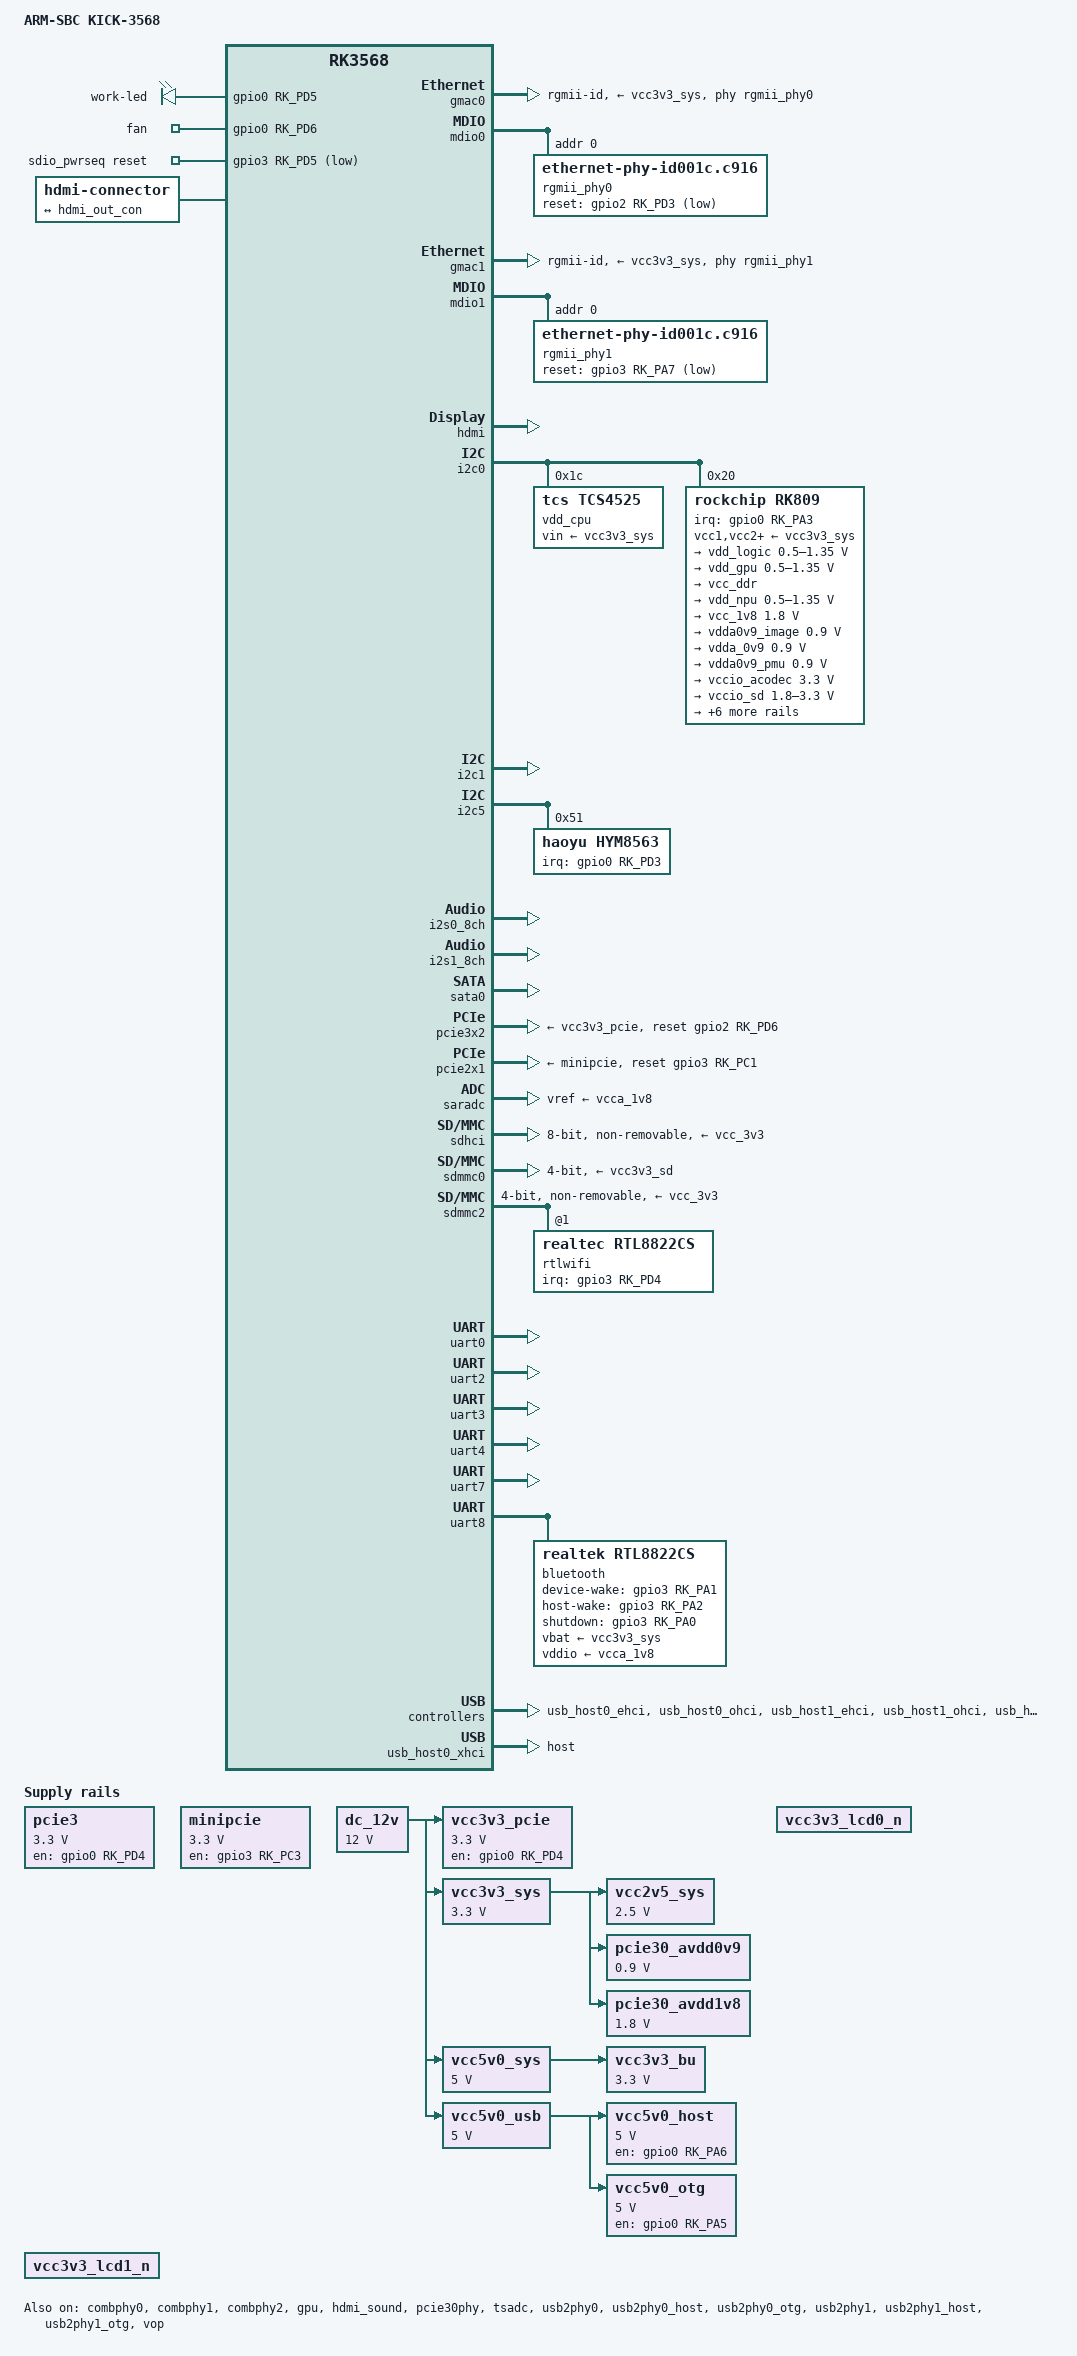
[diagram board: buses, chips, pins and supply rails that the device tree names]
// SPDX-License-Identifier: (GPL-2.0+ OR MIT)
/*
 * Copyright (c) 2021 Rockchip Electronics Co., Ltd.
 */

/dts-v1/;

#include <dt-bindings/gpio/gpio.h>
#include <dt-bindings/pinctrl/rockchip.h>
#include <dt-bindings/soc/rockchip,vop2.h>
#include "rk3568.dtsi"

/ {
	model = "ARM-SBC KICK-3568";
	compatible = "arm-sbc,rk3568-kick", "rockchip,rk3568";

	aliases {
			ethernet0 = &gmac0;
			ethernet1 = &gmac1;
			mmc0 = &sdhci;
			mmc1 = &sdmmc0;
	};

	chosen: chosen {
			stdout-path = "serial2:1500000n8";
	};
	

    rk809-sound {
			compatible = "simple-audio-card";
			simple-audio-card,format = "i2s";
			simple-audio-card,name = "ROCKCHIP-809-SOUND";
			simple-audio-card,mclk-fs = <256>;
			status = "okay";
			
			simple-audio-card,widgets =
				"Headphone", "Headphones",
				"Speaker", "Speaker";
			simple-audio-card,routing =
				"Headphones", "HPOL",
				"Headphones", "HPOR",
				"Speaker", "SPKO";
		     
			simple-audio-card,cpu {
				sound-dai = <&i2s1_8ch>;
			};

			simple-audio-card,codec {
				sound-dai = <&rk809>;
			};
		};

	leds {
			compatible = "gpio-leds";

			led-user {
				label = "work-led";
				default-state = "on";
				gpios = <&gpio0 RK_PD5 GPIO_ACTIVE_HIGH>;
				linux,default-trigger = "heartbeat";
				pinctrl-names = "default";
				pinctrl-0 = <&user_led_enable_h>;
				retain-state-suspended;
				};
				
			fan {
		    	gpios = <&gpio0 RK_PD6 GPIO_ACTIVE_HIGH>;
		    	default-state = "on";
			};
		};
		
		
	
	sdio_pwrseq: sdio-pwrseq {
		compatible = "mmc-pwrseq-simple";
		clocks = <&rk809 1>;
		clock-names = "ext_clock";
		pinctrl-names = "default";
		pinctrl-0 = <&wifi_enable>;
		post-power-on-delay-ms = <100>;
		power-off-delay-us = <5000000>;
		reset-gpios = <&gpio3 RK_PD5 GPIO_ACTIVE_LOW>;
	};
	
	vcc2v5_sys: vcc2v5-ddr {
		compatible = "regulator-fixed";
		regulator-name = "vcc2v5-sys";
		regulator-always-on;
		regulator-boot-on;
		regulator-min-microvolt = <2500000>;
		regulator-max-microvolt = <2500000>;
		vin-supply = <&vcc3v3_sys>;
	};

	vcc3v3_bu: vcc3v3-bu {
		compatible = "regulator-fixed";
		regulator-name = "vcc3v3_bu";
		regulator-always-on;
		regulator-boot-on;
		regulator-min-microvolt = <3300000>;
		regulator-max-microvolt = <3300000>;
		vin-supply = <&vcc5v0_sys>;
	};
	
	pcie30_avdd0v9: pcie30-avdd0v9 {
		compatible = "regulator-fixed";
		regulator-name = "pcie30_avdd0v9";
		regulator-always-on;
		regulator-boot-on;
		regulator-min-microvolt = <900000>;
		regulator-max-microvolt = <900000>;
		vin-supply = <&vcc3v3_sys>;
	};

	pcie30_avdd1v8: pcie30-avdd1v8 {
		compatible = "regulator-fixed";
		regulator-name = "pcie30_avdd1v8";
		regulator-always-on;
		regulator-boot-on;
		regulator-min-microvolt = <1800000>;
		regulator-max-microvolt = <1800000>;
		vin-supply = <&vcc3v3_sys>;
	};

	vcc3v3_pcie: gpio-regulator {
		compatible = "regulator-fixed";
		regulator-name = "vcc3v3_pcie";
		regulator-min-microvolt = <3300000>;
		regulator-max-microvolt = <3300000>;
		enable-active-high;
		gpio = <&gpio0 RK_PD4 GPIO_ACTIVE_HIGH>;
		startup-delay-us = <5000>;
		vin-supply = <&dc_12v>;
	};

	pcie3: pcie3-regulator {
		compatible = "regulator-fixed";
		regulator-name = "pcie3_power";
		regulator-boot-on;
		regulator-always-on;
		regulator-min-microvolt = <3300000>;
		regulator-max-microvolt = <3300000>;
		enable-active-high;
		gpio = <&gpio0 RK_PD4 GPIO_ACTIVE_HIGH>;
		pinctrl-names = "default";
		pinctrl-0 = <&pcie3_power_en>;
	};

	minipcie: minipcie-regulator {
		compatible = "regulator-fixed";
		regulator-name = "minipcie_power";
		regulator-boot-on;
		regulator-always-on;
		regulator-min-microvolt = <3300000>;
		regulator-max-microvolt = <3300000>;
		enable-active-high;
		gpio = <&gpio3 RK_PC3 GPIO_ACTIVE_HIGH>;
		pinctrl-names = "default";
		pinctrl-0 = <&minipcie_power_en>;
	};

	hdmi-con {
		compatible = "hdmi-connector";
		type = "a";

		port {
			hdmi_con_in: endpoint {
				remote-endpoint = <&hdmi_out_con>;
			};
		};
	};

	dc_12v: dc-12v-regulator {
		compatible = "regulator-fixed";
		regulator-name = "dc_12v";
		regulator-always-on;
		regulator-boot-on;
		regulator-min-microvolt = <12000000>;
		regulator-max-microvolt = <12000000>;
	};
	
	vcc3v3_sys: vcc3v3-sys {
		compatible = "regulator-fixed";
		regulator-name = "vcc3v3_sys";
		regulator-always-on;
		regulator-boot-on;
		regulator-min-microvolt = <3300000>;
		regulator-max-microvolt = <3300000>;
		vin-supply = <&dc_12v>;
	};

	vcc5v0_sys: vcc5v0-sys {
		compatible = "regulator-fixed";
		regulator-name = "vcc5v0_sys";
		regulator-always-on;
		regulator-boot-on;
		regulator-min-microvolt = <5000000>;
		regulator-max-microvolt = <5000000>;
		vin-supply = <&dc_12v>;
	};

	vcc5v0_usb: vcc5v0-usb {
		compatible = "regulator-fixed";
		regulator-name = "vcc5v0_usb";
		regulator-always-on;
		regulator-boot-on;
		regulator-min-microvolt = <5000000>;
		regulator-max-microvolt = <5000000>;
		vin-supply = <&dc_12v>;
	};
	
	vcc5v0_host: vcc5v0-host-regulator {
		compatible = "regulator-fixed";
		regulator-name = "vcc5v0_host";
		regulator-boot-on;
		regulator-always-on;
		regulator-min-microvolt = <5000000>;
		regulator-max-microvolt = <5000000>;
		enable-active-high;
		gpio = <&gpio0 RK_PA6 GPIO_ACTIVE_HIGH>;
		vin-supply = <&vcc5v0_usb>;
		pinctrl-names = "default";
		pinctrl-0 = <&vcc5v0_host_en>;
	};

	vcc5v0_otg: vcc5v0-otg-regulator {
		compatible = "regulator-fixed";
		regulator-name = "vcc5v0_otg";
		regulator-min-microvolt = <5000000>;
		regulator-max-microvolt = <5000000>;
		enable-active-high;
		gpio = <&gpio0 RK_PA5 GPIO_ACTIVE_HIGH>;
		vin-supply = <&vcc5v0_usb>;
		pinctrl-names = "default";
		pinctrl-0 = <&vcc5v0_otg_en>;
	};

	vcc3v3_lcd0_n: vcc3v3-lcd0-n {
		compatible = "regulator-fixed";
		regulator-name = "vcc3v3_lcd0_n";
		regulator-boot-on;
		regulator-state-mem {
			regulator-off-in-suspend;
		};
	};

	vcc3v3_lcd1_n: vcc3v3-lcd1-n {
		compatible = "regulator-fixed";
		regulator-name = "vcc3v3_lcd1_n";
		regulator-boot-on;
		regulator-state-mem {
			regulator-off-in-suspend;
		};
	};
};

&combphy0 {
	/* Used for USB3 */
	phy-supply = <&vcc5v0_host>;
	status = "okay";
};

&combphy1 {
	/* Used for USB3 */
	phy-supply = <&vcc5v0_otg>;
	status = "okay";
};

&combphy2 {
	/* used for SATA */
	status = "okay";
};

&cpu0 {
	cpu-supply = <&vdd_cpu>;
};

&cpu1 {
	cpu-supply = <&vdd_cpu>;
};

&cpu2 {
	cpu-supply = <&vdd_cpu>;
};

&cpu3 {
	cpu-supply = <&vdd_cpu>;
};

&gmac0 {

	phy-mode = "rgmii-id";
	clock_in_out = "output";
	phy-supply = <&vcc3v3_sys>;
	assigned-clocks = <&cru SCLK_GMAC0_RX_TX>, <&cru SCLK_GMAC0>;
	assigned-clock-parents = <&cru SCLK_GMAC0_RGMII_SPEED>, <&cru CLK_MAC0_2TOP>;
	pinctrl-names = "default";
	pinctrl-0 = <&gmac0_miim &gmac0_rx_bus2 &gmac0_tx_bus2 &gmac0_rgmii_clk &gmac0_rgmii_bus>;
	phy-handle = <&rgmii_phy0>;
	status = "okay";
			
	tx_delay = <0x3c>;
	rx_delay = <0x2f>;
};

&mdio0 {
	rgmii_phy0: phy@0 {
		compatible = "ethernet-phy-id001c.c916";
		reg = <0x0>;
		clocks = <&cru CLK_MAC0_2TOP>;
		reset-assert-us = <20000>;
		reset-deassert-us = <50000>;
		reset-gpios = <&gpio2 RK_PD3 GPIO_ACTIVE_LOW>;
		pinctrl-0 = <&rtl8211fa_rst>;

	};
};

&gmac1 {

	phy-mode = "rgmii-id";
	clock_in_out = "output";
	phy-supply = <&vcc3v3_sys>;
	assigned-clocks = <&cru SCLK_GMAC1_RX_TX>, <&cru SCLK_GMAC1>;
	assigned-clock-parents = <&cru SCLK_GMAC1_RGMII_SPEED>, <&cru CLK_MAC1_2TOP>;
	pinctrl-names = "default";
	pinctrl-0 = <&gmac1m1_miim &gmac1m1_tx_bus2  &gmac1m1_rx_bus2 &gmac1m1_rgmii_clk  &gmac1m1_rgmii_bus>;
	phy-handle = <&rgmii_phy1>;
	status = "okay";
	
	tx_delay = <0x4f>;
	rx_delay = <0x26>;
};

&mdio1 {
	rgmii_phy1: phy@0 {
		compatible = "ethernet-phy-id001c.c916";
		reg = <0x0>;
		clocks = <&cru CLK_MAC1_2TOP>;
		reset-assert-us = <20000>;
		reset-deassert-us = <50000>;
		reset-gpios = <&gpio3 RK_PA7 GPIO_ACTIVE_LOW>;
		pinctrl-0 = <&rtl8211fb_rst>;
	};
};

&gpu {
	mali-supply = <&vdd_gpu>;
	status = "okay";
};

&hdmi {
	avdd-0v9-supply = <&vdda0v9_image>;
	avdd-1v8-supply = <&vcca1v8_image>;
	status = "okay";
	rockchip,phy-table =
		<92812500  0x8009 0x0000 0x0270>,
		<165000000 0x800b 0x0000 0x026d>,
		<185625000 0x800b 0x0000 0x01ed>,
		<297000000 0x800b 0x0000 0x01ad>,
		<594000000 0x8029 0x0000 0x0088>,
		<000000000 0x0000 0x0000 0x0000>;
};

&hdmi_in {
	hdmi_in_vp0: endpoint {
		remote-endpoint = <&vp0_out_hdmi>;
	};
};

&hdmi_out {
	hdmi_out_con: endpoint {
		remote-endpoint = <&hdmi_con_in>;
	};
};

&hdmi_sound {
	status = "okay";
};

&i2c0 {
	status = "okay";

	vdd_cpu: regulator@1c {
		compatible = "tcs,tcs4525";
		reg = <0x1c>;
		fcs,suspend-voltage-selector = <1>;
		regulator-name = "vdd_cpu";
		regulator-always-on;
		regulator-boot-on;
		regulator-min-microvolt = <800000>;
		regulator-max-microvolt = <1150000>;
		regulator-ramp-delay = <2300>;
		vin-supply = <&vcc3v3_sys>;

		regulator-state-mem {
			regulator-off-in-suspend;
		};
	};

	rk809: pmic@20 {
		compatible = "rockchip,rk809";
		reg = <0x20>;
		interrupt-parent = <&gpio0>;
		interrupts = <RK_PA3 IRQ_TYPE_LEVEL_LOW>;
		assigned-clocks = <&cru I2S1_MCLKOUT_TX>;
		assigned-clock-parents = <&cru CLK_I2S1_8CH_TX>;
		#clock-cells = <1>;
		clock-names = "mclk";
		clocks = <&cru I2S1_MCLKOUT_TX>;
		pinctrl-names = "default";
		pinctrl-0 = <&pmic_int_l>, <&i2s1m0_mclk>;
		rockchip,system-power-controller;
		#sound-dai-cells = <0>;
		vcc1-supply = <&vcc3v3_sys>;
		vcc2-supply = <&vcc3v3_sys>;
		vcc3-supply = <&vcc3v3_sys>;
		vcc4-supply = <&vcc3v3_sys>;
		vcc5-supply = <&vcc3v3_sys>;
		vcc6-supply = <&vcc3v3_sys>;
		vcc7-supply = <&vcc3v3_sys>;
		vcc8-supply = <&vcc3v3_sys>;
		vcc9-supply = <&vcc3v3_sys>;
		wakeup-source;
		
		codec {
			mic-in-differential;
		};


		regulators {
			vdd_logic: DCDC_REG1 {
				regulator-name = "vdd_logic";
				regulator-always-on;
				regulator-boot-on;
				regulator-initial-mode = <0x2>;
				regulator-min-microvolt = <500000>;
				regulator-max-microvolt = <1350000>;
				regulator-ramp-delay = <6001>;

				regulator-state-mem {
					regulator-off-in-suspend;
				};
			};

			vdd_gpu: DCDC_REG2 {
				regulator-name = "vdd_gpu";
				regulator-always-on;
				regulator-initial-mode = <0x2>;
				regulator-min-microvolt = <500000>;
				regulator-max-microvolt = <1350000>;
				regulator-ramp-delay = <6001>;

				regulator-state-mem {
					regulator-off-in-suspend;
				};
			};

			vcc_ddr: DCDC_REG3 {
				regulator-name = "vcc_ddr";
				regulator-always-on;
				regulator-boot-on;
				regulator-initial-mode = <0x2>;

				regulator-state-mem {
					regulator-on-in-suspend;
				};
			};

			vdd_npu: DCDC_REG4 {
				regulator-name = "vdd_npu";
				regulator-initial-mode = <0x2>;
				regulator-min-microvolt = <500000>;
				regulator-max-microvolt = <1350000>;
				regulator-ramp-delay = <6001>;

				regulator-state-mem {
					regulator-off-in-suspend;
				};
			};

			vcc_1v8: DCDC_REG5 {
				regulator-name = "vcc_1v8";
				regulator-always-on;
				regulator-boot-on;
				regulator-min-microvolt = <1800000>;
				regulator-max-microvolt = <1800000>;

				regulator-state-mem {
					regulator-off-in-suspend;
				};
			};

			vdda0v9_image: LDO_REG1 {
				regulator-name = "vdda0v9_image";
				regulator-always-on;
				regulator-min-microvolt = <900000>;
				regulator-max-microvolt = <900000>;

				regulator-state-mem {
					regulator-off-in-suspend;
				};
			};

			vdda_0v9: LDO_REG2 {
				regulator-name = "vdda_0v9";
				regulator-always-on;
				regulator-boot-on;
				regulator-min-microvolt = <900000>;
				regulator-max-microvolt = <900000>;

				regulator-state-mem {
					regulator-off-in-suspend;
				};
			};

			vdda0v9_pmu: LDO_REG3 {
				regulator-name = "vdda0v9_pmu";
				regulator-always-on;
				regulator-boot-on;
				regulator-min-microvolt = <900000>;
				regulator-max-microvolt = <900000>;

				regulator-state-mem {
					regulator-on-in-suspend;
					regulator-suspend-microvolt = <900000>;
				};
			};

			vccio_acodec: LDO_REG4 {
				regulator-name = "vccio_acodec";
				regulator-always-on;
				regulator-boot-on;
				regulator-min-microvolt = <3300000>;
				regulator-max-microvolt = <3300000>;

				regulator-state-mem {
					regulator-off-in-suspend;
				};
			};

			vccio_sd: LDO_REG5 {
				regulator-name = "vccio_sd";
				regulator-min-microvolt = <1800000>;
				regulator-max-microvolt = <3300000>;

				regulator-state-mem {
					regulator-off-in-suspend;
				};
			};

			vcc3v3_pmu: LDO_REG6 {
				regulator-name = "vcc3v3_pmu";
				regulator-always-on;
				regulator-boot-on;
				regulator-min-microvolt = <3300000>;
				regulator-max-microvolt = <3300000>;

				regulator-state-mem {
					regulator-on-in-suspend;
					regulator-suspend-microvolt = <3300000>;
				};
			};

			vcca_1v8: LDO_REG7 {
				regulator-name = "vcca_1v8";
				regulator-always-on;
				regulator-boot-on;
				regulator-min-microvolt = <1800000>;
				regulator-max-microvolt = <1800000>;

				regulator-state-mem {
					regulator-off-in-suspend;
				};
			};

			vcca1v8_pmu: LDO_REG8 {
				regulator-name = "vcca1v8_pmu";
				regulator-always-on;
				regulator-boot-on;
				regulator-min-microvolt = <1800000>;
				regulator-max-microvolt = <1800000>;

				regulator-state-mem {
					regulator-on-in-suspend;
					regulator-suspend-microvolt = <1800000>;
				};
			};

			vcca1v8_image: LDO_REG9 {
				regulator-name = "vcca1v8_image";
				regulator-always-on;
				regulator-min-microvolt = <1800000>;
				regulator-max-microvolt = <1800000>;

				regulator-state-mem {
					regulator-off-in-suspend;
				};
			};

			vcc_3v3: SWITCH_REG1 {
				regulator-name = "vcc_3v3";
				regulator-always-on;
				regulator-boot-on;

				regulator-state-mem {
					regulator-off-in-suspend;
				};
			};

			vcc3v3_sd: SWITCH_REG2 {
				regulator-name = "vcc3v3_sd";
				regulator-always-on;
				regulator-boot-on;

				regulator-state-mem {
					regulator-off-in-suspend;
				};
			};
		};
	};
};

&i2c1 {
	status = "okay";
};

&i2c5 {
	hym8563: hym8563@51 {
		compatible = "haoyu,hym8563";
		reg = <0x51>;
		irq-gpios = <&gpio0 RK_PD3 GPIO_ACTIVE_HIGH>;
		#clock-cells = <0>;
		clock-output-names = "xin32k";
	};
};
&i2s0_8ch {
	/* hdmi sound */
	status = "okay";
};

&i2s1_8ch {
	status = "okay";
	rockchip,trcm-sync-tx-only;
	pinctrl-names = "default";
};

&sata0 {
	status = "okay";
};

&pcie30phy {
	status = "okay";
};

&pcie3x2 {
	reset-gpios = <&gpio2 RK_PD6 GPIO_ACTIVE_HIGH>;
	vpcie3v3-supply = <&vcc3v3_pcie>;
	status = "okay";
};

&pcie2x1 {
	reset-gpios = <&gpio3 RK_PC1 GPIO_ACTIVE_HIGH>;
	disable-gpios = <&gpio3 RK_PC2 GPIO_ACTIVE_HIGH>;
	vpcie3v3-supply = <&minipcie>;
	status = "okay";
};

&pinctrl {
	leds {
		user_led_enable_h: user-led-enable-h {
			rockchip,pins = <0 RK_PD5 RK_FUNC_GPIO &pcfg_pull_none>;
		};
	};

	gmac {
		rtl8211fa_rst: rtl8211fa-rst {
			rockchip,pins = <2 RK_PD3 RK_FUNC_GPIO &pcfg_pull_none>;
		};
		
		rtl8211fb_rst: rtl8211fb-rst {
			rockchip,pins = <3 RK_PA7 RK_FUNC_GPIO &pcfg_pull_none>;
		};
	};
	
	usb {
		vcc5v0_host_en: vcc5v0-host-en {
			rockchip,pins = <0 RK_PA6 RK_FUNC_GPIO &pcfg_pull_none>;
		};

		vcc5v0_otg_en: vcc5v0-otg-en {
			rockchip,pins = <0 RK_PA5 RK_FUNC_GPIO &pcfg_pull_none>;
		};
	};

	pmic {
		pmic_int_l: pmic-int-l {
			rockchip,pins =
				<0 RK_PA3 RK_FUNC_GPIO &pcfg_pull_up>;
		};
				
	};
	
	rk809 {
		hp_det_pin: hp-det-pin {
			rockchip,pins = <0 RK_PB0 RK_FUNC_GPIO &pcfg_pull_none>;
		};
	};
	
	pcie {
		pcie3_power_en: pcie3-power-en {
			rockchip,pins = <0 RK_PD4 RK_FUNC_GPIO &pcfg_pull_none>;
		};
	};
	minipcie {
		minipcie_power_en: minipcie-power-en {
			rockchip,pins = <3 RK_PC3 RK_FUNC_GPIO &pcfg_pull_none>;
		};
	};

	
	bt {
		bt_enable_h: bt-enable-h {
			rockchip,pins = <3 RK_PA0 RK_FUNC_GPIO &pcfg_pull_none>;
		};

		bt_host_wake_l: bt-host-wake-l {
			rockchip,pins = <3 RK_PA2 RK_FUNC_GPIO &pcfg_pull_down>;
		};

		bt_wake_l: bt-wake-l {
			rockchip,pins = <3 RK_PA1 RK_FUNC_GPIO &pcfg_pull_none>;
		};
	};
	
	ethernet {
		eth_phy_rstn: eth-phy-rstn-pinctrl {
			rockchip,pins = <2 RK_PD3 RK_FUNC_GPIO &pcfg_pull_none>;
		};
	};
	
	sdio-pwrseq {
		wifi_enable: wifi-enable {
			rockchip,pins = <3 RK_PD5 RK_FUNC_GPIO &pcfg_pull_none>;
		};

		wifi_host_wake_h: wifi-host-wake-l {
			rockchip,pins = <3 RK_PD4 RK_FUNC_GPIO &pcfg_pull_none>;
		};
	};
};

&pmu_io_domains {
	pmuio1-supply = <&vcc3v3_pmu>;
	pmuio2-supply = <&vcc3v3_pmu>;
	vccio1-supply = <&vccio_acodec>;
	vccio3-supply = <&vccio_sd>;
	vccio4-supply = <&vcc_1v8>;
	vccio5-supply = <&vcc_3v3>;
	vccio6-supply = <&vcc_1v8>;
	vccio7-supply = <&vcc_3v3>;
	status = "okay";
};

&saradc {
	vref-supply = <&vcca_1v8>;
	status = "okay";
};

&sdhci {
	bus-width = <8>;
	max-frequency = <200000000>;
	non-removable;
	pinctrl-names = "default";
	pinctrl-0 = <&emmc_bus8 &emmc_clk &emmc_cmd &emmc_datastrobe &emmc_rstnout>;
	vmmc-supply = <&vcc_3v3>;
	vqmmc-supply = <&vcc_1v8>;
	status = "okay";
};

&sdmmc0 {
	max-frequency = <150000000>;
	supports-sd;
	bus-width = <4>;
	cap-mmc-highspeed;
	cap-sd-highspeed;
	disable-wp;
	sd-uhs-sdr104;
	vmmc-supply = <&vcc3v3_sd>;
	vqmmc-supply = <&vccio_sd>;
	pinctrl-names = "default";
	pinctrl-0 = <&sdmmc0_bus4 &sdmmc0_clk &sdmmc0_cmd &sdmmc0_det>;
	status = "okay";
};

&sdmmc2 {
	max-frequency = <150000000>;
	supports-sdio;
	#address-cells = <1>;
	#size-cells = <0>;
	bus-width = <4>;
	disable-wp;
	cap-sd-highspeed;
	cap-sdio-irq;
	keep-power-in-suspend;
	mmc-pwrseq = <&sdio_pwrseq>;
	non-removable;
	pinctrl-names = "default";
	pinctrl-0 = <&sdmmc2m0_bus4 &sdmmc2m0_cmd &sdmmc2m0_clk>;
	sd-uhs-sdr104;
	vmmc-supply = <&vcc_3v3>;
	vqmmc-supply = <&vcc_1v8>;
	status = "okay";
	
	rtlwifi: wifi@1 {
		compatible = "realtec,rtl8822cs ";
		reg = <1>;
		interrupt-parent = <&gpio3>;
		interrupts = <RK_PD4 IRQ_TYPE_LEVEL_HIGH>;
		interrupt-names = "host-wake";
		pinctrl-names = "default";
		pinctrl-0 = <&wifi_host_wake_h>;
    };
};

&tsadc {
	rockchip,hw-tshut-mode = <1>;
	rockchip,hw-tshut-polarity = <0>;
	status = "okay";
};

&uart0 {
    status = "okay";
    pinctrl-names = "default";
    pinctrl-0 = <&uart0_xfer>;
};

&uart2 {
	status = "okay";
};

&uart3 {
    status = "okay";
    pinctrl-names = "default";
    pinctrl-0 = <&uart3m1_xfer>;
};

&uart4 {
    status = "okay";
    pinctrl-names = "default";
    pinctrl-0 = <&uart4m1_xfer>;
};

&uart7 {
    status = "okay";
    pinctrl-names = "default";
    pinctrl-0 = <&uart7m1_xfer>;
};

&uart8 {
	pinctrl-names = "default";
	pinctrl-0 = <&uart8m0_rtsn>, <&uart8m0_xfer>, <&uart8m0_ctsn>;
	status = "okay";
	uart-has-rtscts;

	bluetooth {
		compatible = "realtek,rtl8822cs";
		clocks = <&rk809 1>;
		clock-names = "ext_clock";
		device-wake-gpios = <&gpio3 RK_PA1 GPIO_ACTIVE_HIGH>;
		host-wake-gpios = <&gpio3 RK_PA2 GPIO_ACTIVE_HIGH>;
		shutdown-gpios = <&gpio3 RK_PA0 GPIO_ACTIVE_HIGH>;
		pinctrl-names = "default";
		pinctrl-0 = <&bt_host_wake_l &bt_wake_l &bt_enable_h>;
		vbat-supply = <&vcc3v3_sys>;
		vddio-supply = <&vcca_1v8>;
	};
};

&usb_host0_ehci {
	status = "okay";
};

&usb_host0_ohci {
	status = "okay";
};

&usb_host0_xhci {
	dr_mode = "host";
	status = "okay";
};

&usb_host1_ehci {
	status = "okay";
};

&usb_host1_ohci {
	status = "okay";
};

&usb_host1_xhci {
	status = "okay";
};

&usb2phy0 {
	status = "okay";
};

&usb2phy0_host {
	phy-supply = <&vcc5v0_host>;
	status = "okay";
};

&usb2phy0_otg {
	phy-supply = <&vcc5v0_otg>;
	status = "okay";
};

&usb2phy1 {
	status = "okay";
};

&usb2phy1_host {
	phy-supply = <&vcc5v0_host>;
	status = "okay";
};

&usb2phy1_otg {
	phy-supply = <&vcc5v0_host>;
	status = "okay";
};

&vp0 {
	vp0_out_hdmi: endpoint@ROCKCHIP_VOP2_EP_HDMI0 {
		reg = <ROCKCHIP_VOP2_EP_HDMI0>;
		remote-endpoint = <&hdmi_in_vp0>;
	};
};

&vop {
	assigned-clocks = <&cru DCLK_VOP0>, <&cru DCLK_VOP1>;
	assigned-clock-parents = <&pmucru PLL_HPLL>, <&cru PLL_VPLL>;
	status = "okay";
};

&vop_mmu {
	status = "okay";
};

